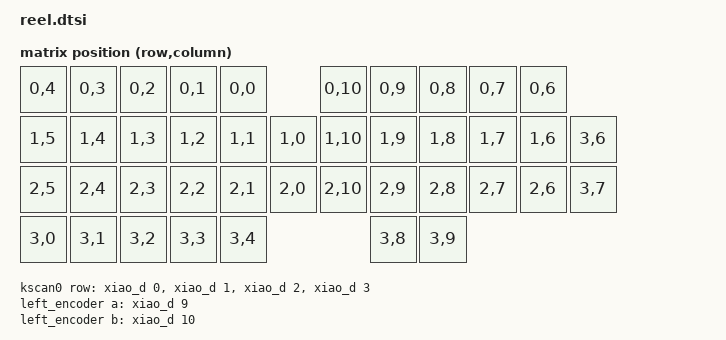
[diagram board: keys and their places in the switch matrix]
#include <dt-bindings/zmk/matrix_transform.h>
#include <zephyr/dt-bindings/gpio/gpio.h>

/ {
    chosen {
        zmk,kscan = &kscan0;
        zmk,physical-layout = &reel_layout;
    };

    kscan0: kscan {
        compatible = "zmk,kscan-gpio-matrix";
        diode-direction = "col2row";
        wakeup-source;

        row-gpios
            = <&xiao_d 0 (GPIO_ACTIVE_HIGH | GPIO_PULL_DOWN)>
            , <&xiao_d 1 (GPIO_ACTIVE_HIGH | GPIO_PULL_DOWN)>
            , <&xiao_d 2 (GPIO_ACTIVE_HIGH | GPIO_PULL_DOWN)>
            , <&xiao_d 3 (GPIO_ACTIVE_HIGH | GPIO_PULL_DOWN)>
            ;
    };

    default_transform: keymap_transform_0 {
        compatible = "zmk,matrix-transform";
        columns = <11>;
        rows = <4>;

        /*
         * Left:  4x6 local matrix in global columns 0..5.
         * Right: 4x5 local matrix in global columns 6..10.
         *
         * The two switches at L(3,0) and L(3,1) are the tact switches
         * located on the rotary encoder shaft extension.
         * R(3,0) and R(3,1) are physically the outer keys on the home
         * and lower rows; R(3,2) and R(3,3) are the two thumb keys.
         */
        map = <
            RC(0,4) RC(0,3) RC(0,2) RC(0,1) RC(0,0)          RC(0,10) RC(0,9) RC(0,8) RC(0,7) RC(0,6)
            RC(1,5) RC(1,4) RC(1,3) RC(1,2) RC(1,1) RC(1,0) RC(1,10) RC(1,9) RC(1,8) RC(1,7) RC(1,6) RC(3,6)
            RC(2,5) RC(2,4) RC(2,3) RC(2,2) RC(2,1) RC(2,0) RC(2,10) RC(2,9) RC(2,8) RC(2,7) RC(2,6) RC(3,7)
            RC(3,0) RC(3,1) RC(3,2) RC(3,3) RC(3,4)                   RC(3,8) RC(3,9)
        >;
    };

    reel_layout: physical_layout_0 {
        compatible = "zmk,physical-layout";
        display-name = "Default";
        kscan = <&kscan0>;
        transform = <&default_transform>;
    };

    left_encoder: encoder_left {
        compatible = "alps,ec11";
        a-gpios = <&xiao_d 9 (GPIO_ACTIVE_HIGH | GPIO_PULL_UP)>;
        b-gpios = <&xiao_d 10 (GPIO_ACTIVE_HIGH | GPIO_PULL_UP)>;
        steps = <20>;
        status = "disabled";
    };

    sensors: sensors {
        compatible = "zmk,keymap-sensors";
        sensors = <&left_encoder>;
        triggers-per-rotation = <20>;
    };
};

/* P0.09 and P0.10 are used as matrix GPIOs instead of NFC pins. */
&uicr {
    nfct-pins-as-gpios;
};
